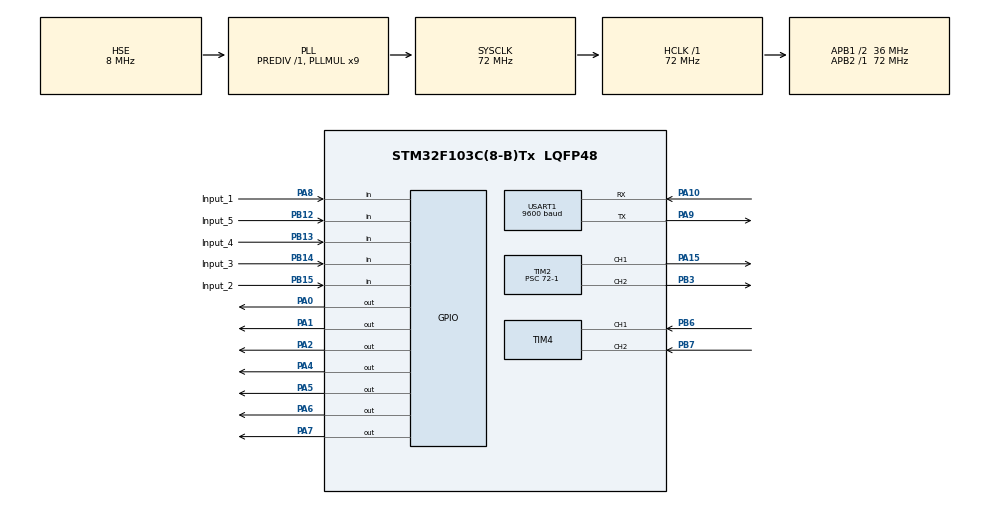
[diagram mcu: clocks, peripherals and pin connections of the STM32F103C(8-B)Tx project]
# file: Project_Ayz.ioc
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Mcu.Family=STM32F1
Mcu.Name=STM32F103C(8-B)Tx
Mcu.Package=LQFP48
NVIC.PriorityGroup=NVIC_PRIORITYGROUP_4
NVIC.TIM3_IRQn=true\:0\:0\:false\:false\:true\:true\:true\:true
NVIC.USART1_IRQn=true\:0\:0\:false\:false\:true\:true\:true\:true
PA0-WKUP.PinState=GPIO_PIN_SET
PA0-WKUP.Signal=GPIO_Output
PA1.PinState=GPIO_PIN_SET
PA1.Signal=GPIO_Output
PA10.Mode=Asynchronous
PA10.Signal=USART1_RX
PA13.Mode=Serial_Wire
PA13.Signal=SYS_JTMS-SWDIO
PA14.Mode=Serial_Wire
PA14.Signal=SYS_JTCK-SWCLK
PA15.Signal=S_TIM2_CH1_ETR
PA2.PinState=GPIO_PIN_SET
PA2.Signal=GPIO_Output
PA4.PinState=GPIO_PIN_SET
PA4.Signal=GPIO_Output
PA5.PinState=GPIO_PIN_SET
PA5.Signal=GPIO_Output
PA6.PinState=GPIO_PIN_SET
PA6.Signal=GPIO_Output
PA7.PinState=GPIO_PIN_SET
PA7.Signal=GPIO_Output
PA8.GPIO_Label=Input_1
PA8.GPIO_PuPd=GPIO_PULLDOWN
PA8.Signal=GPIO_Input
PA9.Mode=Asynchronous
PA9.Signal=USART1_TX
PB12.GPIO_Label=Input_5
PB12.GPIO_PuPd=GPIO_PULLDOWN
PB12.Signal=GPIO_Input
PB13.GPIO_Label=Input_4
PB13.GPIO_PuPd=GPIO_PULLDOWN
PB13.Signal=GPIO_Input
PB14.GPIO_Label=Input_3
PB14.GPIO_PuPd=GPIO_PULLDOWN
PB14.Signal=GPIO_Input
PB15.GPIO_Label=Input_2
PB15.GPIO_PuPd=GPIO_PULLDOWN
PB15.Signal=GPIO_Input
PB3.Signal=S_TIM2_CH2
PB6.Signal=S_TIM4_CH1
PB7.Signal=S_TIM4_CH2
PD0-OSC_IN.Mode=HSE-External-Oscillator
PD0-OSC_IN.Signal=RCC_OSC_IN
PD1-OSC_OUT.Mode=HSE-External-Oscillator
PD1-OSC_OUT.Signal=RCC_OSC_OUT
ProjectManager.HeapSize=0x200
ProjectManager.StackSize=0x400
ProjectManager.TargetToolchain=MDK-ARM V5
RCC.AHBFreq_Value=72000000
RCC.APB1CLKDivider=RCC_HCLK_DIV2
RCC.APB1Freq_Value=36000000
RCC.APB1TimFreq_Value=72000000
RCC.APB2Freq_Value=72000000
RCC.APB2TimFreq_Value=72000000
RCC.HCLKFreq_Value=72000000
RCC.PLLMUL=RCC_PLL_MUL9
RCC.PLLSourceVirtual=RCC_PLLSOURCE_HSE
RCC.SYSCLKFreq_VALUE=72000000
RCC.SYSCLKSource=RCC_SYSCLKSOURCE_PLLCLK
RCC.USBFreq_Value=72000000
SH.S_TIM2_CH1_ETR.0=TIM2_CH1,PWM Generation1 CH1
SH.S_TIM2_CH2.0=TIM2_CH2,PWM Generation2 CH2
SH.S_TIM4_CH1.0=TIM4_CH1,Encoder_Interface
SH.S_TIM4_CH2.0=TIM4_CH2,Encoder_Interface
TIM2.AutoReloadPreload=TIM_AUTORELOAD_PRELOAD_DISABLE
TIM2.Channel-PWM\ Generation1\ CH1=TIM_CHANNEL_1
TIM2.Channel-PWM\ Generation2\ CH2=TIM_CHANNEL_2
TIM2.Period=100-1
TIM2.Prescaler=72-1
TIM2.Pulse-PWM\ Generation2\ CH2=0
TIM3.Period=7200-1
TIM3.Prescaler=10000-1
USART1.BaudRate=9600
USART1.VirtualMode=VM_ASYNC
VP_TIM2_VS_ClockSourceINT.Mode=Internal
VP_TIM3_VS_ClockSourceINT.Mode=Internal
board=custom

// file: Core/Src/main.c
/* USER CODE BEGIN Header */
/**
  ******************************************************************************
  * @file           : main.c
  * @brief          : Main program body
  ******************************************************************************
  * @attention
  *
  * Copyright (c) 2023 STMicroelectronics.
  * All rights reserved.
  *
  * This software is licensed under terms that can be found in the LICENSE file
  * in the root directory of this software component.
  * If no LICENSE file comes with this software, it is provided AS-IS.
  *
  ******************************************************************************
  */
/* USER CODE END Header */
#include "main.h"
#include "tim.h"
#include "usart.h"
#include "gpio.h"

/* USER CODE BEGIN Includes */
#include "stdio.h"
#include <stdlib.h>
#include <stdbool.h>//使用bool类型，需要加入该�?
#include <stdint.h>//使用bool类型，需要加入该�?
#define Input_1 HAL_GPIO_ReadPin( Input_1_GPIO_Port, Input_1_Pin)
#define Input_2 HAL_GPIO_ReadPin( Input_2_GPIO_Port, Input_2_Pin)
#define Input_3 HAL_GPIO_ReadPin( Input_3_GPIO_Port, Input_3_Pin)
#define Input_4 HAL_GPIO_ReadPin( Input_4_GPIO_Port, Input_4_Pin)
#define Input_5 HAL_GPIO_ReadPin( Input_5_GPIO_Port, Input_5_Pin)
/* USER CODE END Includes */

/* USER CODE BEGIN PV */

//状�?�变�?
bool pi_Straight = false;
bool pi_Stop = false;
bool pi_Left = false;
bool pi_Right = false;
int Count = 0;
bool Straight = false;
bool Stop = false;
bool weiLeft = false;
bool weiRight = false;
bool Left = false;
bool Right = false;
char Car_State;
int count = 0;
int count_temp,delta;
int fputc(int ch, FILE *f)
{

		HAL_UART_Transmit(&huart1, (uint8_t *)&ch, 1, 0xffff);

		return ch;

}
int fgetc(FILE *f)
{
  uint8_t ch = 0;
  HAL_UART_Receive(&huart1, &ch, 1, 0xffff);
  return ch;
}
/* USER CODE END PV */

void SystemClock_Config(void);
/* USER CODE BEGIN PFP */
struct _pid{
	float SetSpeed;//定义设定�?
	float ActualSpeed;//定义实际�?
	float err;//定义偏差�?
	float err_next;//定义上一个偏差�??
	float err_last;//定义�?上前的偏差�??
	float Kp, Ki, Kd;//定义比例、积分�?�微分系�?
}pid;
float Speed;
//PID初始�?
void PID_init(){
	pid.SetSpeed = 0.0;
	pid.ActualSpeed = 0.0;
	pid.err = 0.0;
	pid.err_last = 0.0;
	pid.err_next = 0.0;
	//可设置下面的值，从�?�达到最佳效�?
	pid.Kp = 0.2;
	pid.Ki = 0.04;
	pid.Kd = 0.2;
}

float PID_realize(float speed ,float ActualSpeed){
	float incrementSpeed = 100;
	pid.ActualSpeed = ActualSpeed;
	pid.SetSpeed = speed;
	pid.err = pid.SetSpeed - pid.ActualSpeed;
  incrementSpeed = pid.Kp*(pid.err - pid.err_next) + pid.Ki*pid.err + pid.Kd*(pid.err - 2 * pid.err_next + pid.err_last);//计算出增�?
	pid.ActualSpeed += incrementSpeed;
	pid.err_last = pid.err_next;
	pid.err_next = pid.err;
	return incrementSpeed;
}

/* USER CODE END PFP */

int main(void)
{

  /* MCU Configuration--------------------------------------------------------*/

  /* Reset of all peripherals, Initializes the Flash interface and the Systick. */
  HAL_Init();

  /* Configure the system clock */
  SystemClock_Config();

  /* Initialize all configured peripherals */
  MX_GPIO_Init();
  MX_TIM2_Init();
  MX_TIM3_Init();
  MX_USART1_UART_Init();
  MX_TIM4_Init();
  /* USER CODE BEGIN 2 */
HAL_TIM_PWM_Start(&htim2, TIM_CHANNEL_2);//启动PWM信号通道
HAL_TIM_PWM_Start(&htim2, TIM_CHANNEL_1);
//__HAL_TIM_SET_COMPARE (&htim2, TIM_CHANNEL_2,0);
HAL_TIM_Base_Start_IT(&htim3);
HAL_TIM_Encoder_Start(&htim4, TIM_CHANNEL_ALL);
PID_init();
Speed = 0;

  /* USER CODE END 2 */

  /* Infinite loop */
  /* USER CODE BEGIN WHILE */
  while (1)
  {
		//接收串口信息
		HAL_UART_Receive_IT(&huart1,(uint8_t *)&Car_State,1);
		HAL_GPIO_WritePin(GPIOA, GPIO_PIN_4, GPIO_PIN_RESET);//控制正转反转
		HAL_GPIO_WritePin(GPIOA, GPIO_PIN_5, GPIO_PIN_SET);
		HAL_GPIO_WritePin(GPIOA, GPIO_PIN_6, GPIO_PIN_RESET);//控制正转反转
		HAL_GPIO_WritePin(GPIOA, GPIO_PIN_7, GPIO_PIN_SET);
		//读取相应的巡线信息
		//直行
		if(Input_1 == 1 && Input_2 == 1 && Input_3 == 0 && Input_4 == 1 && Input_5 == 1)
		{
			Straight = true;
			Stop = false;
			Left = false;
			Right = false;
			weiLeft = false;
			weiRight = false;
		}
		//左转
		else if((Input_1 == 1 || Input_2 == 1)&&( Input_4 == 0 && Input_5==0))
		//else if((Input_1 == 1 && Input_2 == 1)&&( Input_4 == 0 || Input_5==0))
		{
			Straight = false;
			Stop = false;
			Left = false;
			Right = true;
			weiLeft = false;
			weiRight = false;
		}
		//右转
		else if((Input_1 == 0 && Input_2 == 0)&&(Input_4 == 1 || Input_5 == 1))
		//else if((Input_1 == 0 || Input_2 == 0)&&(Input_4 == 1&&Input_5==1))
		{
			Straight = false;
			Stop = false;
			Left = true;
			Right = false;
			weiLeft = false;
			weiRight = false;
		}
		else if((Input_1 == 1 || Input_2 == 1)&&( Input_4 == 0))
		{
			Straight = false;
			Stop = false;
			Left = false;
			Right = false;
			weiLeft = false;
			weiRight = true;
		}
		else if((Input_2 == 0)&&(Input_4 == 1 || Input_5 == 1))
		//else if((Input_1 == 0 || Input_2 == 0)&&(Input_4 == 1&&Input_5==1))
		{
			Straight = false;
			Stop = false;
			Left = false;
			Right = false;
			weiLeft = true;
			weiRight = false;
		}
		else if(Input_1 == 0 && Input_2 == 0 && Input_3 == 0 && Input_4 == 0 && Input_5 == 0)
		{
			if(pi_Straight == 1)
			{
				Count++;
			}
			if(pi_Straight == 1 && Count >60000)
			{
				Straight = false;
				Stop = false;
				Left = false;
				Right = true;
			}else
			{
				Straight = pi_Straight;
				Stop = pi_Stop;
				Left = pi_Left;
				Right = pi_Right;
			}

			//Straight = true;
			//Stop = false;
			//Left = false;
			//Right = false;
			weiLeft = false;
			weiRight = false;
		}

		if(Straight)
		{
			__HAL_TIM_SET_COMPARE (&htim2, TIM_CHANNEL_2,100);//右轮
			__HAL_TIM_SET_COMPARE (&htim2, TIM_CHANNEL_1,100);//左轮
			//Straight = false;
		}
		else if(Stop)
		{
			__HAL_TIM_SET_COMPARE (&htim2, TIM_CHANNEL_2,0);//右轮
			__HAL_TIM_SET_COMPARE (&htim2, TIM_CHANNEL_1,0);//左轮
			//Stop = false;
		}
		else if(Left)
		{
			__HAL_TIM_SET_COMPARE (&htim2, TIM_CHANNEL_2,10);//右轮
			__HAL_TIM_SET_COMPARE (&htim2, TIM_CHANNEL_1,100);//左轮
			//Left = false;
		}
		else if(Right)
		{
			__HAL_TIM_SET_COMPARE (&htim2, TIM_CHANNEL_2,100);//右轮
			__HAL_TIM_SET_COMPARE (&htim2, TIM_CHANNEL_1,10);//左轮
			//Right = false;
		}
		else if(weiLeft)
		{
			__HAL_TIM_SET_COMPARE (&htim2, TIM_CHANNEL_2,50);//右轮
			__HAL_TIM_SET_COMPARE (&htim2, TIM_CHANNEL_1,100);//左轮
		}
		else if(weiRight)
		{
			__HAL_TIM_SET_COMPARE (&htim2, TIM_CHANNEL_2,100);//右轮
			__HAL_TIM_SET_COMPARE (&htim2, TIM_CHANNEL_1,50);//左轮
		}
			/* USER CODE END WHILE */

  }
}

void SystemClock_Config(void)
{
  RCC_OscInitTypeDef RCC_OscInitStruct = {0};
  RCC_ClkInitTypeDef RCC_ClkInitStruct = {0};

  /** Initializes the RCC Oscillators according to the specified parameters
  * in the RCC_OscInitTypeDef structure.
  */
  RCC_OscInitStruct.OscillatorType = RCC_OSCILLATORTYPE_HSE;
  RCC_OscInitStruct.HSEState = RCC_HSE_ON;
  RCC_OscInitStruct.HSEPredivValue = RCC_HSE_PREDIV_DIV1;
  RCC_OscInitStruct.HSIState = RCC_HSI_ON;
  RCC_OscInitStruct.PLL.PLLState = RCC_PLL_ON;
  RCC_OscInitStruct.PLL.PLLSource = RCC_PLLSOURCE_HSE;
  RCC_OscInitStruct.PLL.PLLMUL = RCC_PLL_MUL9;
  if (HAL_RCC_OscConfig(&RCC_OscInitStruct) != HAL_OK)
  {
    Error_Handler();
  }

  /** Initializes the CPU, AHB and APB buses clocks
  */
  RCC_ClkInitStruct.ClockType = RCC_CLOCKTYPE_HCLK|RCC_CLOCKTYPE_SYSCLK
                              |RCC_CLOCKTYPE_PCLK1|RCC_CLOCKTYPE_PCLK2;
  RCC_ClkInitStruct.SYSCLKSource = RCC_SYSCLKSOURCE_PLLCLK;
  RCC_ClkInitStruct.AHBCLKDivider = RCC_SYSCLK_DIV1;
  RCC_ClkInitStruct.APB1CLKDivider = RCC_HCLK_DIV2;
  RCC_ClkInitStruct.APB2CLKDivider = RCC_HCLK_DIV1;

  if (HAL_RCC_ClockConfig(&RCC_ClkInitStruct, FLASH_LATENCY_2) != HAL_OK)
  {
    Error_Handler();
  }
}

/* USER CODE BEGIN 4 */
void HAL_TIM_PeriodElapsedCallback(TIM_HandleTypeDef *htim)
	{

      if(htim == (&htim3))
      {
				count_temp = count;
				count = (uint32_t)(__HAL_TIM_GET_COUNTER(&htim4));
				pid.ActualSpeed = count_temp - count;
					if(Straight)
					{
							printf("Straight\r\n");
					}
					else if(Stop)
					{
							printf("Stop\r\n");
					}
					else if(Left)
					{
							printf("Left\r\n");
					}
					else if(Right)
					{
							printf("Right\r\n");
					}
				//printf("%d  \n",(int)pid.ActualSpeed);
				//printf("%d\r\n",Input_1&Input_2);
				//printf("%d%d%d%d%d\r\n",Input_1,Input_2,Input_3,Input_4,Input_5);
				//printf("%d  \n",(int)PID_realize(100,pid.ActualSpeed));
//				if((int)PID_realize(100,pid.ActualSpeed)<0)
//				__HAL_TIM_SET_COMPARE (&htim2, TIM_CHANNEL_2,0);
//				else
//				__HAL_TIM_SET_COMPARE (&htim2, TIM_CHANNEL_2,(int)PID_realize(100,pid.ActualSpeed));

			}
	}
void HAL_UART_RxCpltCallback(UART_HandleTypeDef *huart)
{

	switch(Car_State)
	{
		case '0':
			pi_Straight = true;
			pi_Stop = false;
			pi_Left = false;
			pi_Right = false;
			printf("0--Straight  %d\n   ",Count);//换成上述定义的bool类型即可
		break;
		case '1':
			pi_Straight = false;
			pi_Stop =true;
			pi_Left = false;
			pi_Right = false;
			printf("1--Stop  %d\n   ",Count);
		break;
		case '2':
			pi_Straight = false;
			pi_Stop = false;
			pi_Left = true;
			pi_Right = false;
			printf("2--Left  %d\n   ",Count);
		break;
		case '3':
			pi_Straight = false;
			pi_Stop = false;
			pi_Left = false;
			pi_Right = true;
			printf("3--Right  %d\n   ",Count);
		break;
		default:
			break;
	}

}

/* USER CODE END 4 */

void Error_Handler(void)
{
  __disable_irq();
  while (1)
  {
  }
}
